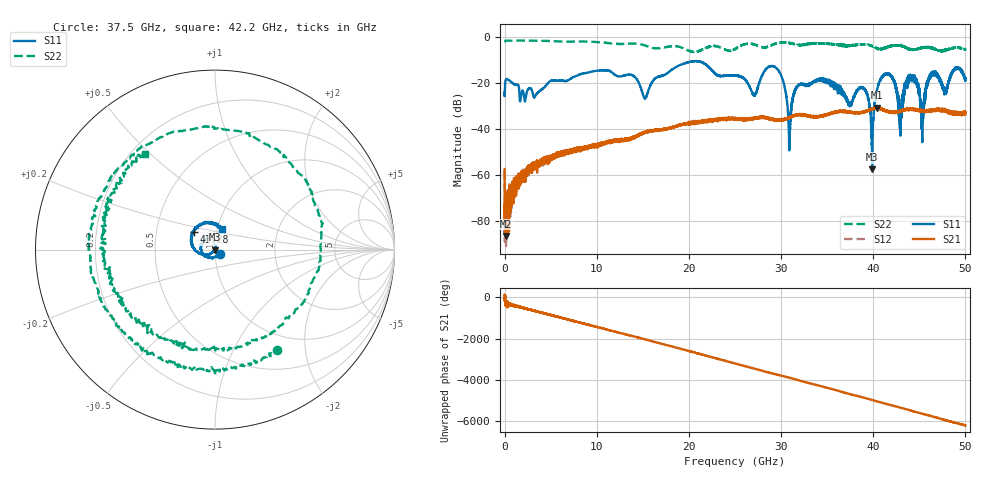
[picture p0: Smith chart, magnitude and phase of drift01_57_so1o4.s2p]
!Created with skrf (http://scikit-rf.org).
# Hz S RI R 50.0
!freq ReS11 ImS11 ReS21 ImS21 ReS12 ImS12 ReS22 ImS22
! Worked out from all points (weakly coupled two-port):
!   10001 points, 300 kHz to 50 GHz, reference 50 ohm
!   highest |S21| = -30.57 dB at 40.39 GHz (marker M1); lowest = -86.3 dB at 115.3 MHz (marker M2)
!   lowest |S11| = -57.4 dB at 39.89 GHz (marker M3), VSWR 1.00, Z = 49.9 + j0.0131 ohm
!   |S11| at or under -10 dB: start of sweep to end of sweep
!   |S22| runs from -6.4 to -1.4 dB; largest |S21 - S12| = 0.0035
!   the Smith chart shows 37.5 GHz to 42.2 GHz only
!   S11 on the Smith chart (normalised r, x): 37.5 GHz: 1.05, -0.05; 41.28 GHz: 0.78, +0.16; 42.2 GHz: 1.05, +0.25
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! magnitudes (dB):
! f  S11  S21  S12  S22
! 300 kHz  -23.9  -57.2  -57.9  -2.1
! 115.3 MHz  -18.5  -86.3  -83.6  -1.5
! 8.335 GHz  -15.9  -48.1  -48.4  -1.8
! 16.67 GHz  -17.1  -40.3  -40.3  -4.8
! 25 GHz  -16.5  -35.3  -35.3  -5.0
! 27.1 GHz  -25.2  -35.4  -35.3  -3.1
! 29.43 GHz  -13.1  -35.9  -36.1  -2.8
! 30.91 GHz  -47.9  -34.8  -34.9  -2.5
! 31.7 GHz  -21.7  -33.9  -33.7  -3.2
! 33.34 GHz  -19.9  -34.4  -34.3  -2.7
! 37.5 GHz  -29.0  -32.3  -32.6  -3.6
! 38.97 GHz  -22.3  -32.5  -32.5  -3.1
! 39.89 GHz  -57.4  -31.1  -31.1  -3.7
! 40.39 GHz  -23.3  -30.6  -31.0  -4.8
! 41.28 GHz  -16.3  -31.9  -31.9  -4.4
! 41.67 GHz  -16.0  -32.3  -32.3  -4.3
! 42.2 GHz  -18.2  -32.8  -32.7  -3.6
! 42.91 GHz  -30.0  -32.1  -32.1  -3.6
! 44.21 GHz  -17.1  -31.3  -31.1  -5.4
! 45.32 GHz  -38.9  -31.8  -31.8  -4.6
! 46.42 GHz  -15.2  -31.8  -31.9  -4.6
! 50 GHz  -18.0  -33.5  -32.3  -5.3
